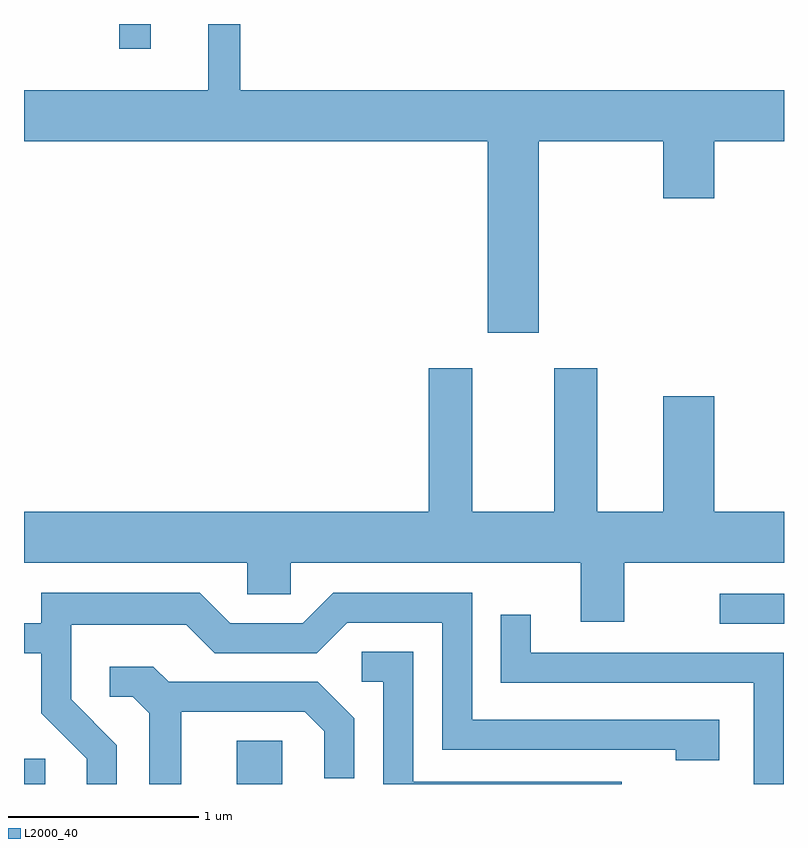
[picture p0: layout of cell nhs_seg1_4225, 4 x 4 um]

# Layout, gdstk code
import gdstk
lib = gdstk.Library(unit=1e-6, precision=1e-09)
def R(c, l, rs):  # rectangles x0, y0, x1, y1
    for r in rs: c.add(gdstk.rectangle(r[:2], r[2:], *l))
def P(c, l, *ps):  # polygons
    for p in ps: c.add(gdstk.Polygon(p, *l))
L2000_40 = (2000, 40)

nhs_seg1_4225 = lib.new_cell('nhs_seg1_4225')
R(nhs_seg1_4225, L2000_40, [(311.611,931.712,311.724,931.844), (312.731,931.712,312.969,931.939), (315.273,932.556,315.611,932.714), (312.111,935.583,312.279,935.712)])
P(nhs_seg1_4225, L2000_40, [(314.319,935.096),(314.976,935.096),(314.976,934.796),(315.244,934.796),(315.244,935.096),(315.611,935.096),(315.611,935.364),(312.749,935.364),(312.749,935.712),(312.581,935.712),(312.581,935.364),(311.611,935.364),(311.611,935.096),(314.051,935.096),(314.051,934.086),(314.319,934.086)],
  [(314.769,932.876),(315.611,932.876),(315.611,933.144),(315.244,933.144),(315.244,933.754),(314.976,933.754),(314.976,933.144),(314.629,933.144),(314.629,933.899),(314.401,933.899),(314.401,933.144),(313.969,933.144),(313.969,933.899),(313.741,933.899),(313.741,933.144),(311.611,933.144),(311.611,932.876),(312.786,932.876),(312.786,932.711),(313.014,932.711),(313.014,932.876),(314.541,932.876),(314.541,932.566),(314.769,932.566)],
  [(312.099,931.917),(311.859,932.157),(311.859,932.551),(312.464,932.551),(312.614,932.401),(313.152,932.401),(313.312,932.561),(313.811,932.561),(313.811,931.891),(315.041,931.891),(315.041,931.836),(315.269,931.836),(315.269,932.049),(313.969,932.049),(313.969,932.719),(313.239,932.719),(313.079,932.559),(312.697,932.559),(312.537,932.719),(311.701,932.719),(311.701,932.559),(311.611,932.559),(311.611,932.401),(311.701,932.401),(311.701,932.084),(311.941,931.844),(311.941,931.712),(312.099,931.712)],
  [(315.609,932.404),(314.279,932.404),(314.279,932.603),(314.121,932.603),(314.121,932.246),(315.451,932.246),(315.451,931.712),(315.609,931.712)],
  [(314.758,931.724),(313.659,931.724),(313.659,932.409),(313.388,932.409),(313.388,932.251),(313.501,932.251),(313.501,931.712),(314.758,931.712)],
  [(312.439,932.091),(313.089,932.091),(313.191,931.989),(313.191,931.743),(313.349,931.743),(313.349,932.057),(313.157,932.249),(312.372,932.249),(312.292,932.329),(312.063,932.329),(312.063,932.171),(312.184,932.171),(312.271,932.084),(312.271,931.712),(312.439,931.712)])

lib.write_gds('nhs_seg1_4225.gds')
